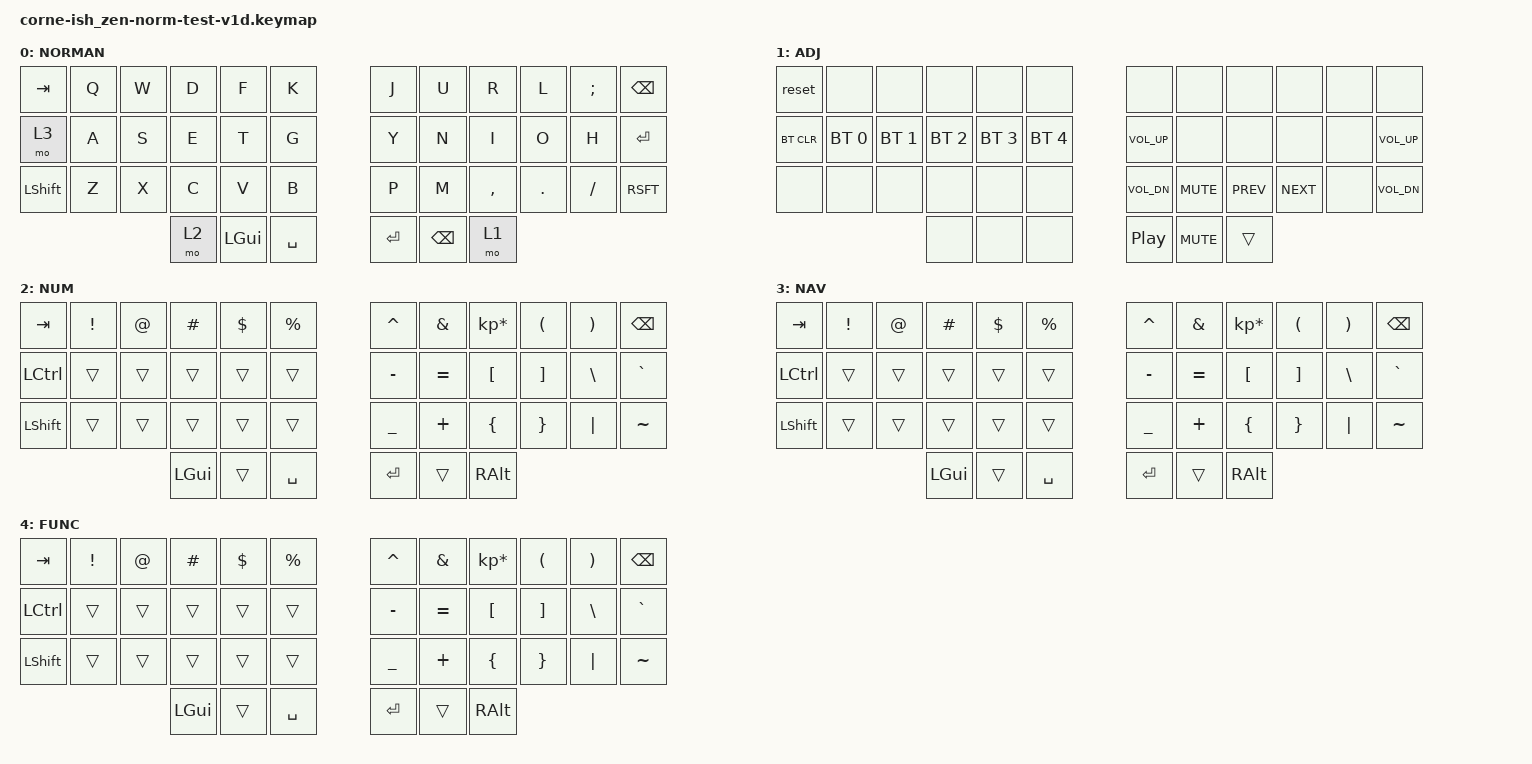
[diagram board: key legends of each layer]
/*
*
* Copyright (c) 2021 Darryl deHaan
* SPDX-License-Identifier: MIT
*
*/

#include <behaviors.dtsi>
#include <dt-bindings/zmk/keys.h>
#include <dt-bindings/zmk/bt.h>

&mt {
     tapping-term-ms = <400>;
 };
 
/ {
        keymap {
                compatible = "zmk,keymap";

                default_layer {
                        label = "NORMAN";
// -----------------------------------------------------------------------------------------
// |  TAB |  Q  |  W  |  D  |  F  |  K  |   |  J  |  U   |  R  |  L  |  ;  | BSPC |
// | MO-3 |  A  |  S  |  E  |  T  |  G  |   |  Y  |  N   |  I  |  O  |  H  |ENTER |
// | SHFT |  Z  |  X  |  C  |  V  |  B  |   |  P  |  M   |  ,  |  .  |  /  | RSFT |
//                    | GUI | LWR | SPC |   | ENT | BSPC | MO-1 |
                        bindings = <
   &kp TAB   &kp Q &kp W &kp D &kp F &kp K    &kp J &kp U &kp R    &kp L   &kp SEMI    &kp BSPC
   &mo 3     &kp A &kp S &kp E &kp T &kp G    &kp Y &kp N &kp I    &kp O   &kp H    &kp ENTER
   &kp LSHFT &kp Z &kp X &kp C &kp V &kp B    &kp P &kp M &kp CMMA &kp DOT &kp FSLH &kp RSFT
                   &mo 2 &kp LGUI &kp SPACE   &kp ENTER &kp BSPC &mo 1
                        >;
                };
                adj_layer {
                        label = "ADJ";
// -----------------------------------------------------------------------------------------
// | RESET|     |     |     |     |     |   |     |     |     |     |     |      |
// | BTCLR| BT1 | BT2 | BT3 | BT4 | BT5 |   | Vol+|     |     |     |     |      |Vol+
// |      |     |     |     |     |     |   | Vol-| MUTE| PREV| NEXT|     |      |Vol-
//                    |     |     |     |   | Play| MUTE|     |
                        bindings = <
   &reset     &none        &none        &none        &none        &none         &none        &none      &none      &none      &none &none
   &bt BT_CLR &bt BT_SEL 0 &bt BT_SEL 1 &bt BT_SEL 2 &bt BT_SEL 3 &bt BT_SEL 4  &kp C_VOL_UP &none      &none      &none      &none &kp C_VOL_UP
   &none      &none        &none        &none        &none        &none         &kp C_VOL_DN &kp K_MUTE &kp C_PREV &kp C_NEXT &none &kp C_VOL_DN
                          	        	&none     	 &none        &none      	&kp C_PP     &kp K_MUTE &trans
                        >;
                };

                num_layer {
                        label = "NUM";
// -----------------------------------------------------------------------------------------
// |  TAB |  !  |  @  |  #  |  $  |  %  |   |  ^  |  &  |  *  |  (  |  )  | BKSP |
// | CTRL |     |     |     |     |     |   |  -  |  =  |  [  |  ]  |  \  |  `   |
// | SHFT |     |     |     |     |     |   |  _  |  +  |  {  |  }  | "|" |  ~   |
//                    | GUI |     | SPC |   | ENT |     | ALT |
                        bindings = <
   &kp  TAB  &kp EXCL &kp AT &kp HASH &kp DLLR &kp PRCNT   &kp CARET &kp AMPS  &kp KP_MULTIPLY &kp LPAR &kp RPAR &kp BSPC
   &kp LCTRL &trans   &trans &trans   &trans   &trans      &kp MINUS &kp EQUAL &kp LBKT        &kp RBKT &kp BSLH &kp GRAVE
   &kp LSHFT &trans   &trans &trans   &trans   &trans      &kp UNDER &kp PLUS  &kp LBRC        &kp RBRC &kp PIPE &kp TILDE
                    	     &kp LGUI &trans   &kp SPACE   &kp RET   &trans    &kp RALT
                        >;
                };
                
                nav_layer {
                        label = "NAV";
// -----------------------------------------------------------------------------------------
// |  TAB |  !  |  @  |  #  |  $  |  %  |   |  ^  |  &  |  *  |  (  |  )  | BKSP |
// | CTRL |     |     |     |     |     |   |  -  |  =  |  [  |  ]  |  \  |  `   |
// | SHFT |     |     |     |     |     |   |  _  |  +  |  {  |  }  | "|" |  ~   |
//                    | GUI |     | SPC |   | ENT |     | ALT |
                        bindings = <
   &kp  TAB  &kp EXCL &kp AT &kp HASH &kp DLLR &kp PRCNT   &kp CARET &kp AMPS  &kp KP_MULTIPLY &kp LPAR &kp RPAR &kp BSPC
   &kp LCTRL &trans   &trans &trans   &trans   &trans      &kp MINUS &kp EQUAL &kp LBKT        &kp RBKT &kp BSLH &kp GRAVE
   &kp LSHFT &trans   &trans &trans   &trans   &trans      &kp UNDER &kp PLUS  &kp LBRC        &kp RBRC &kp PIPE &kp TILDE
                    	     &kp LGUI &trans   &kp SPACE   &kp RET   &trans    &kp RALT
                        >;
                };
                
                func_layer {
                        label = "FUNC";
// -----------------------------------------------------------------------------------------
// |  TAB |  !  |  @  |  #  |  $  |  %  |   |  ^  |  &  |  *  |  (  |  )  | BKSP |
// | CTRL |     |     |     |     |     |   |  -  |  =  |  [  |  ]  |  \  |  `   |
// | SHFT |     |     |     |     |     |   |  _  |  +  |  {  |  }  | "|" |  ~   |
//                    | GUI |     | SPC |   | ENT |     | ALT |
                        bindings = <
   &kp  TAB  &kp EXCL &kp AT &kp HASH &kp DLLR &kp PRCNT   &kp CARET &kp AMPS  &kp KP_MULTIPLY &kp LPAR &kp RPAR &kp BSPC
   &kp LCTRL &trans   &trans &trans   &trans   &trans      &kp MINUS &kp EQUAL &kp LBKT        &kp RBKT &kp BSLH &kp GRAVE
   &kp LSHFT &trans   &trans &trans   &trans   &trans      &kp UNDER &kp PLUS  &kp LBRC        &kp RBRC &kp PIPE &kp TILDE
                    	     &kp LGUI &trans   &kp SPACE   &kp RET   &trans    &kp RALT
                        >;
                };
        };
};
